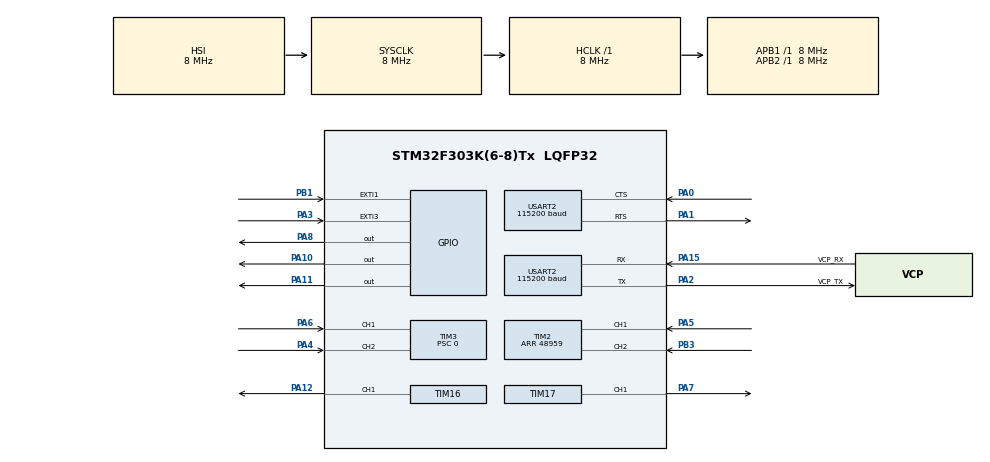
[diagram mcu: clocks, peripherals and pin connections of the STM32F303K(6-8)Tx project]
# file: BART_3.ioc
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Dma.Request0=USART2_RX
Dma.USART2_RX.0.Direction=DMA_PERIPH_TO_MEMORY
Dma.USART2_RX.0.Instance=DMA1_Channel6
Dma.USART2_RX.0.MemDataAlignment=DMA_MDATAALIGN_BYTE
Dma.USART2_RX.0.MemInc=DMA_MINC_ENABLE
Dma.USART2_RX.0.Mode=DMA_CIRCULAR
Dma.USART2_RX.0.PeriphDataAlignment=DMA_PDATAALIGN_BYTE
Dma.USART2_RX.0.PeriphInc=DMA_PINC_DISABLE
Dma.USART2_RX.0.Priority=DMA_PRIORITY_LOW
Mcu.Family=STM32F3
Mcu.Name=STM32F303K(6-8)Tx
Mcu.Package=LQFP32
NVIC.DMA1_Channel6_IRQn=true\:0\:0\:false\:false\:true\:false\:true\:true
NVIC.PriorityGroup=NVIC_PRIORITYGROUP_4
NVIC.TIM6_DAC1_IRQn=true\:0\:0\:false\:false\:true\:true\:true\:true
NVIC.TIM7_DAC2_IRQn=true\:1\:0\:true\:false\:true\:true\:true\:true
PA0.Mode=CTS_RTS
PA0.Signal=USART2_CTS
PA1.Mode=CTS_RTS
PA1.Signal=USART2_RTS
PA10.Signal=GPIO_Output
PA11.Signal=GPIO_Output
PA12.Signal=S_TIM16_CH1
PA13.GPIO_Label=SWDIO
PA13.Mode=Serial_Wire
PA13.Signal=SYS_JTMS-SWDIO
PA14.GPIO_Label=SWCLK
PA14.Mode=Serial_Wire
PA14.Signal=SYS_JTCK-SWCLK
PA15.GPIO_Label=VCP_RX
PA15.Mode=Asynchronous
PA15.Signal=USART2_RX
PA2.GPIO_Label=VCP_TX
PA2.Mode=Asynchronous
PA2.Signal=USART2_TX
PA3.Signal=GPXTI3
PA4.Signal=S_TIM3_CH2
PA5.Signal=S_TIM2_CH1_ETR
PA6.Signal=S_TIM3_CH1
PA7.Signal=S_TIM17_CH1
PA8.Signal=GPIO_Output
PB1.Signal=GPXTI1
PB3.Signal=S_TIM2_CH2
PF0\ /\ OSC_IN.GPIO_Label=MCO
PF0\ /\ OSC_IN.Mode=HSE-External-Clock-Source
PF0\ /\ OSC_IN.Signal=RCC_OSC_IN
ProjectManager.HeapSize=0x200
ProjectManager.StackSize=0x400
ProjectManager.TargetToolchain=STM32CubeIDE
RCC.AHBFreq_Value=8000000
RCC.APB1Freq_Value=8000000
RCC.APB2Freq_Value=8000000
RCC.APB2TimFreq_Value=8000000
RCC.CortexFreq_Value=8000000
RCC.HSE_VALUE=8000000
RCC.HSI_VALUE=8000000
RCC.PLLMUL=RCC_PLL_MUL4
RCC.SYSCLKFreq_VALUE=8000000
SH.S_TIM16_CH1.0=TIM16_CH1,PWM Generation1 CH1
SH.S_TIM17_CH1.0=TIM17_CH1,PWM Generation1 CH1
SH.S_TIM2_CH1_ETR.0=TIM2_CH1,Encoder_Interface
SH.S_TIM2_CH2.0=TIM2_CH2,Encoder_Interface
SH.S_TIM3_CH1.0=TIM3_CH1,Encoder_Interface
SH.S_TIM3_CH2.0=TIM3_CH2,Encoder_Interface
TIM16.AutoReloadPreload=TIM_AUTORELOAD_PRELOAD_ENABLE
TIM16.Channel=TIM_CHANNEL_1
TIM16.OCFastMode_PWM=TIM_OCFAST_ENABLE
TIM16.Period=7999
TIM16.Pulse=0
TIM17.AutoReloadPreload=TIM_AUTORELOAD_PRELOAD_ENABLE
TIM17.Channel=TIM_CHANNEL_1
TIM17.Period=7999
TIM17.Prescaler=0
TIM2.AutoReloadPreload=TIM_AUTORELOAD_PRELOAD_ENABLE
TIM2.EncoderMode=TIM_ENCODERMODE_TI12
TIM2.Period=48959
TIM3.AutoReloadPreload=TIM_AUTORELOAD_PRELOAD_ENABLE
TIM3.EncoderMode=TIM_ENCODERMODE_TI12
TIM3.IC1Filter=0
TIM3.Period=48959
TIM3.Prescaler=0
TIM3.TIM_MasterOutputTrigger=TIM_TRGO_RESET
TIM6.AutoReloadPreload=TIM_AUTORELOAD_PRELOAD_ENABLE
TIM6.Period=7999
TIM6.Prescaler=0
TIM6.TIM_MasterOutputTrigger=TIM_TRGO_RESET
TIM7.Period=799
TIM7.Prescaler=0
USART2.BaudRate=115200
USART2.VirtualMode-Asynchronous=VM_ASYNC
VP_TIM16_VS_ClockSourceINT.Mode=Enable_Timer
VP_TIM17_VS_ClockSourceINT.Mode=Enable_Timer
VP_TIM6_VS_ClockSourceINT.Mode=Enable_Timer
VP_TIM7_VS_ClockSourceINT.Mode=Enable_Timer
board=NUCLEO-F303K8

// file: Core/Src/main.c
/* USER CODE BEGIN Header */
/**
  ******************************************************************************
  * @file           : main.c
  * @brief          : Main program body
  ******************************************************************************
  * @attention
  *
  * Copyright (c) 2024 Nolan McCleary.
  *
  * This software is licensed under terms that can be found in the LICENSE file
  * in the root directory of this software component.
  *
  ******************************************************************************
  */
/* USER CODE END Header */
#include "main.h"
#include "dma.h"
#include "tim.h"
#include "usart.h"
#include "gpio.h"

/* USER CODE BEGIN Includes */
#include "pd.h"
#include "filter.h"
/* USER CODE END Includes */

/* USER CODE BEGIN PD */
#define KP 18.5
#define KD 0.6
#define SAMPLE_RATE 1000
#define MOTOR1_DIR_Pin GPIO_PIN_10
#define MOTOR1_DIR_GPIO_Port GPIOA
#define MOTOR2_DIR_Pin GPIO_PIN_11
#define MOTOR2_DIR_GPIO_Port GPIOA

#define LIMIT_SWITCH_1_PIN GPIO_PIN_1
#define LIMIT_SWITCH_2_PIN GPIO_PIN_3
#define LIMIT_SWITCH_ANGLE_DEG 90
#define HOMING_SET_VALUE (LIMIT_SWITCH_ANGLE_DEG / 360 * ENCODER_RESOLUTION)
#define HOMING_POWER_RATIO 0.2

#define ENCODER_RESOLUTION 48960
#define CHUNK_SIZE 8
#define UART_BUFFSIZE CHUNK_SIZE * 3

#define ON 1
#define OFF 0
/* USER CODE END PD */

/* USER CODE BEGIN PM */
#define SIGNED_ANGLE(A, RES) ((A > (RES / 2)) ? (A - RES) : (A))
#define ARC_VECTOR(TARGET, CURRENT) \
    ((((TARGET - CURRENT) + ENCODER_RESOLUTION) % ENCODER_RESOLUTION <= ENCODER_RESOLUTION / 2) ? \
        ((TARGET - CURRENT) + ENCODER_RESOLUTION) % ENCODER_RESOLUTION : \
        -((ENCODER_RESOLUTION - ((TARGET - CURRENT) + ENCODER_RESOLUTION) % ENCODER_RESOLUTION) % ENCODER_RESOLUTION))
/* USER CODE END PM */

/* USER CODE BEGIN PV */
enum{
  HOMING,
  RUNNING,
  ERROR_STATE
}BART_STATE;

pd_instance_int16 pd_instance_mot1, pd_instance_mot2;
moving_avg_obj filter_instance1, filter_instance2;

int32_t xPos;
int32_t xOutput;

int32_t yPos;
int32_t yOutput;

float motor1_error_derivative, motor2_error_derivative;

uint16_t xTarg, yTarg; //angular representation of target x and y cartesian coordinates
uint8_t laser;
uint8_t visited;
int32_t deltaX, deltaY;
int32_t xError, yError;
int32_t last_x_error, last_y_error;

uint8_t rx_buff[UART_BUFFSIZE] = {0};

int16_t buffer_index = -8;
uint16_t point_index;

uint8_t x_homed;
uint8_t y_homed;

int16_t xTargTracker;
int16_t yTargTracker;

/* USER CODE END PV */

void SystemClock_Config(void);

int main(void)
{

  /* MCU Configuration--------------------------------------------------------*/

  /* Reset of all peripherals, Initializes the Flash interface and the Systick. */
  HAL_Init();

  /* Configure the system clock */
  SystemClock_Config();

  /* USER CODE BEGIN SysInit */
  HAL_UART_MspInit(&huart2);
  /* USER CODE END SysInit */

  /* Initialize all configured peripherals */
  MX_GPIO_Init();
  MX_DMA_Init();
  MX_TIM2_Init();
  MX_TIM3_Init();
  MX_TIM16_Init();
  MX_TIM17_Init();
  MX_USART2_UART_Init();
  MX_TIM6_Init();
  MX_TIM7_Init();
  /* USER CODE BEGIN 2 */

  Decoder_Init();
  PWM_Init();
  set_pd_gain(&pd_instance_mot1, KP, KD);
  set_pd_gain(&pd_instance_mot2, KP, KD);
  TIM6_manual_init();
  TIM7_manual_init();
  HAL_UART_Receive_DMA(&huart2, rx_buff, UART_BUFFSIZE); //Establish continuous UART DMA

  //INSERT CALIBRATION CODE HERE----------------------------------------
  x_homed = 0;
  y_homed = 0;
  BART_STATE = HOMING;
  //----------------------------------------------------------------------

  homer_subroutine();

  /* USER CODE END 2 */

  /* Infinite loop */
  /* USER CODE BEGIN WHILE */
  while (1)
  {
    if(BART_STATE == HOMING){ //redundancy for any interrupt-triggered homing that needs to be added in the future
      x_homed = 0;
      y_homed = 0;
      homer_subroutine();
    }

    xPos = SIGNED_ANGLE(__HAL_TIM_GET_COUNTER(&htim2), ENCODER_RESOLUTION);
    yPos = SIGNED_ANGLE(__HAL_TIM_GET_COUNTER(&htim3), ENCODER_RESOLUTION);

    xTargTracker = SIGNED_ANGLE(xTarg, ENCODER_RESOLUTION);
    yTargTracker = SIGNED_ANGLE(yTarg, ENCODER_RESOLUTION);

    xOutput = pd_instance_mot1.output;
    yOutput = pd_instance_mot2.output;

    /* USER CODE END WHILE */

  }
}

void SystemClock_Config(void)
{
  RCC_OscInitTypeDef RCC_OscInitStruct = {0};
  RCC_ClkInitTypeDef RCC_ClkInitStruct = {0};

  /** Initializes the RCC Oscillators according to the specified parameters
  * in the RCC_OscInitTypeDef structure.
  */
  RCC_OscInitStruct.OscillatorType = RCC_OSCILLATORTYPE_HSI;
  RCC_OscInitStruct.HSIState = RCC_HSI_ON;
  RCC_OscInitStruct.HSICalibrationValue = RCC_HSICALIBRATION_DEFAULT;
  RCC_OscInitStruct.PLL.PLLState = RCC_PLL_NONE;
  if (HAL_RCC_OscConfig(&RCC_OscInitStruct) != HAL_OK)
  {
    Error_Handler();
  }

  /** Initializes the CPU, AHB and APB buses clocks
  */
  RCC_ClkInitStruct.ClockType = RCC_CLOCKTYPE_HCLK|RCC_CLOCKTYPE_SYSCLK
                              |RCC_CLOCKTYPE_PCLK1|RCC_CLOCKTYPE_PCLK2;
  RCC_ClkInitStruct.SYSCLKSource = RCC_SYSCLKSOURCE_HSI;
  RCC_ClkInitStruct.AHBCLKDivider = RCC_SYSCLK_DIV1;
  RCC_ClkInitStruct.APB1CLKDivider = RCC_HCLK_DIV1;
  RCC_ClkInitStruct.APB2CLKDivider = RCC_HCLK_DIV1;

  if (HAL_RCC_ClockConfig(&RCC_ClkInitStruct, FLASH_LATENCY_0) != HAL_OK)
  {
    Error_Handler();
  }
}

/* USER CODE BEGIN 4 */

/**
 * @brief Timer overflow interrupt callback
 * @details Applies PD on timer 6 overflow, updates UART buffer entry on timer 7 overflow
*/
void HAL_TIM_PeriodElapsedCallback(TIM_HandleTypeDef *htim){

  if(BART_STATE == RUNNING){
    if(htim->Instance == TIM6){

      if(laser == ON){
        HAL_GPIO_WritePin(GPIOA, GPIO_PIN_8, GPIO_PIN_SET);
      }

      else{
        HAL_GPIO_WritePin(GPIOA, GPIO_PIN_8, GPIO_PIN_RESET);
      }

      xError = ARC_VECTOR(xTarg, __HAL_TIM_GET_COUNTER(&htim2));
      yError = ARC_VECTOR(yTarg, __HAL_TIM_GET_COUNTER(&htim3));

      //get error delta
      deltaX = xError - last_x_error;
      deltaY = yError - last_y_error;

      //filter on error delta
      apply_average_filter(&filter_instance1, deltaX, &motor1_error_derivative);
      apply_average_filter(&filter_instance2, deltaY, &motor2_error_derivative);

      // apply PD
      apply_pd(&pd_instance_mot1, xError, motor1_error_derivative, SAMPLE_RATE);
      apply_pd(&pd_instance_mot2, yError, motor2_error_derivative, SAMPLE_RATE);

      // PWM and direction control
      if(pd_instance_mot1.output > 0){
        __HAL_TIM_SET_COMPARE(&htim16, TIM_CHANNEL_1, pd_instance_mot1.output);
        HAL_GPIO_WritePin(MOTOR1_DIR_GPIO_Port, MOTOR1_DIR_Pin, GPIO_PIN_SET);
      }
      else{
        __HAL_TIM_SET_COMPARE(&htim16, TIM_CHANNEL_1, (-1) * pd_instance_mot1.output);
        HAL_GPIO_WritePin(MOTOR1_DIR_GPIO_Port, MOTOR1_DIR_Pin, GPIO_PIN_RESET);
      }

      if(pd_instance_mot2.output > 0){
        __HAL_TIM_SET_COMPARE(&htim17, TIM_CHANNEL_1, pd_instance_mot2.output);
        HAL_GPIO_WritePin(MOTOR2_DIR_GPIO_Port, MOTOR2_DIR_Pin, GPIO_PIN_SET);
      }
      else{
        __HAL_TIM_SET_COMPARE(&htim17, TIM_CHANNEL_1, (-1) * pd_instance_mot2.output);
        HAL_GPIO_WritePin(MOTOR2_DIR_GPIO_Port, MOTOR2_DIR_Pin, GPIO_PIN_RESET);
      }

      last_x_error = xError;
      last_y_error = yError;
    }

    else if(htim->Instance == TIM7){
      buffer_index += 8;
      if (buffer_index >= UART_BUFFSIZE) {
        buffer_index -= UART_BUFFSIZE;  // Wrap around explicitly without waiting for the next interrupt
      }
      visited = rx_buff[buffer_index + 5];
      if((buffer_index < UART_BUFFSIZE - 7) && !visited){
        xTarg = rx_buff[buffer_index] | (rx_buff[buffer_index + 1] << 8);
        yTarg = rx_buff[buffer_index + 2] | (rx_buff[buffer_index + 3] << 8);
        laser = rx_buff[buffer_index + 4];
        rx_buff[buffer_index + 5] |= 0x1; //mark this byte as visited
        point_index = rx_buff[buffer_index + 6] | (rx_buff[buffer_index + 7] << 8);
      }
    }
  }
}

//Turn mirrors until limit switch is hit
void homer_subroutine(void){
    laser = OFF;

    if(!x_homed){
      __HAL_TIM_SET_COMPARE(&htim16, TIM_CHANNEL_1, HOMING_POWER_RATIO * PD_MAX);
    }

    if(!y_homed){
      __HAL_TIM_SET_COMPARE(&htim17, TIM_CHANNEL_1, HOMING_POWER_RATIO * PD_MAX);
    }

    while(!x_homed || !y_homed)
    {
    }

    BART_STATE = RUNNING;
}

//Limit switch interrupt which triggers when limit switch pins are pulled low
void HAL_GPIO_EXTI_Callback(uint16_t GPIO_Pin){
  uint32_t primask = __get_PRIMASK();
  __disable_irq();

  if(GPIO_Pin == LIMIT_SWITCH_1_PIN){
    TIM2->CNT &= 0x0;
    TIM2->CNT |= HOMING_SET_VALUE;
    __HAL_TIM_SET_COMPARE(&htim16, TIM_CHANNEL_1, 0);
    x_homed = 1;
  }

  else if(GPIO_Pin == LIMIT_SWITCH_2_PIN){
    TIM3->CNT &= 0x0;
    TIM3->CNT |= HOMING_SET_VALUE;
    __HAL_TIM_SET_COMPARE(&htim17, TIM_CHANNEL_1, 0);
    y_homed = 1;
  }

  __set_PRIMASK(primask);
}

//Low-level initializatiion to bypass HAL unreliability
void Decoder_Init(void){
  TIM2->CR1 |= TIM_CR1_CEN;
  TIM2->CR1 |= TIM_CR1_ARPE;
  TIM2->ARR = ENCODER_RESOLUTION - 1;

  TIM3->CR1 |= TIM_CR1_CEN;
  TIM3->CR1 |= TIM_CR1_ARPE;
  TIM3->ARR = ENCODER_RESOLUTION - 1;
}

void PWM_Init(void){
  TIM16->CR1 |= 1;
  TIM16->CCER |= TIM_CCER_CC1E;
  HAL_TIM_PWM_Start(&htim16, TIM_CHANNEL_1); //PWM pin map function

  TIM17->CR1 |= 1;
  TIM17->CCER |= TIM_CCER_CC1E;
  HAL_TIM_PWM_Start(&htim17, TIM_CHANNEL_1);
}

void TIM6_manual_init(){
  TIM6->CR1 |= 1;
  TIM6->DIER |= TIM_DIER_UIE;
}

void TIM7_manual_init(){
  TIM7->CR1 |= 1;
  TIM7->DIER |= TIM_DIER_UIE;
}

/* USER CODE END 4 */

void Error_Handler(void)
{
  /* USER CODE BEGIN Error_Handler_Debug */
  /* User can add his own implementation to report the HAL error return state */
  __disable_irq();
  BART_STATE = ERROR_STATE;
  while (1)
  {
  }
  /* USER CODE END Error_Handler_Debug */
}
